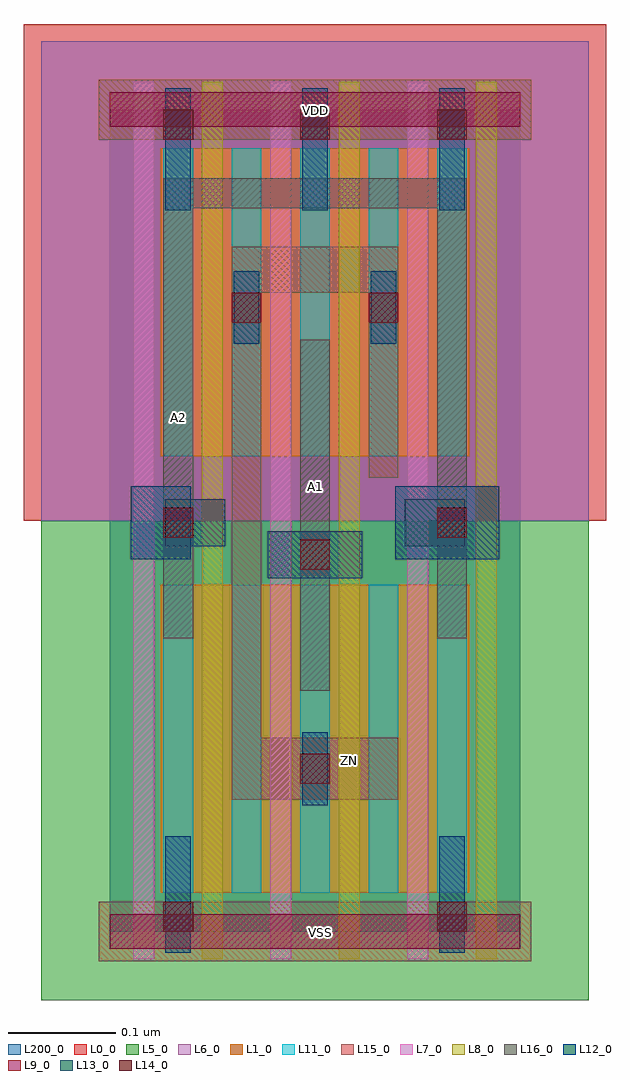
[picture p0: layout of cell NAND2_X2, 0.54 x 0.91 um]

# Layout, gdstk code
import gdstk
lib = gdstk.Library(unit=1e-6, precision=1e-09)
def R(c, l, rs):  # rectangles x0, y0, x1, y1
    for r in rs: c.add(gdstk.rectangle(r[:2], r[2:], *l))
def A(c, l, x, y, w, h, nx, ny, dx, dy):  # array of equal rectangles
    R(c, l, [(x+i*dx, y+j*dy, x+i*dx+w, y+j*dy+h) for i in range(nx) for j in range(ny)])
def P(c, l, *ps):  # polygons
    for p in ps: c.add(gdstk.Polygon(p, *l))
L0_0 = (0, 0)
L1_0 = (1, 0)
L5_0 = (5, 0)
L6_0 = (6, 0)
L7_0 = (7, 0)
L8_0 = (8, 0)
L9_0 = (9, 0)
L11_0 = (11, 0)
L12_0 = (12, 0)
L13_0 = (13, 0)
L14_0 = (14, 0)
L15_0 = (15, 0)
L16_0 = (16, 0)
L200_0 = (200, 0)

nand2_x2 = lib.new_cell('NAND2_X2')
R(nand2_x2, L0_0, [(-0.08,0.384,0.464,0.848)])
R(nand2_x2, L1_0, [(0.048,0.036,0.336,0.324), (0.048,0.444,0.336,0.732)])
R(nand2_x2, L5_0, [(-0.064,-0.064,0.448,0.384)])
R(nand2_x2, L6_0, [(-0.064,0.384,0.448,0.832)])
A(nand2_x2, L7_0, 0.022, -0.026, 0.02, 0.82, 3, 1, 0.128, 0)
A(nand2_x2, L8_0, 0.086, -0.026, 0.02, 0.82, 3, 1, 0.128, 0)
R(nand2_x2, L9_0, [(0,-0.016,0.384,0.016), (0,0.752,0.384,0.784)])
A(nand2_x2, L11_0, 0.05, 0.036, 0.028, 0.288, 5, 2, 0.064, 0.408)
A(nand2_x2, L12_0, 0.052, 0.674, 0.024, 0.114, 3, 1, 0.128, 0)
R(nand2_x2, L12_0, [(0.052,-0.02,0.076,0.089), (0.308,-0.02,0.332,0.089), (0.18,0.118,0.204,0.186), (0.02,0.348,0.076,0.416), (0.267,0.348,0.364,0.416), (0.116,0.549,0.14,0.617), (0.244,0.549,0.268,0.617)])
R(nand2_x2, L13_0, [(0.148,0.33,0.236,0.374), (0.052,0.36,0.108,0.404), (0.276,0.36,0.332,0.404)])
A(nand2_x2, L14_0, 0.05, 0.74, 0.028, 0.028, 3, 1, 0.128, 0)
R(nand2_x2, L14_0, [(0.05,0,0.078,0.028), (0.306,0,0.334,0.028), (0.178,0.138,0.206,0.166), (0.178,0.338,0.206,0.366), (0.05,0.368,0.078,0.396), (0.306,0.368,0.334,0.396), (0.114,0.569,0.142,0.597), (0.242,0.569,0.27,0.597)])
R(nand2_x2, L15_0, [(-0.01,-0.028,0.394,0.028), (-0.01,0.74,0.394,0.796)])
P(nand2_x2, L15_0, [(0.142,0.597),(0.242,0.597),(0.242,0.424),(0.27,0.424),(0.27,0.64),(0.114,0.64),(0.114,0.123),(0.27,0.123),(0.27,0.181),(0.142,0.181)])
R(nand2_x2, L16_0, [(0.178,0.225,0.206,0.553)])
P(nand2_x2, L16_0, [(0.05,0.274),(0.078,0.274),(0.078,0.676),(0.306,0.676),(0.306,0.274),(0.334,0.274),(0.334,0.704),(0.05,0.704)])
R(nand2_x2, L200_0, [(0,0,0.384,0.768)])
nand2_x2.add(gdstk.Label('VSS', (0.197,-0.001), layer=15, texttype=20))
nand2_x2.add(gdstk.Label('ZN', (0.224,0.16), layer=15, texttype=20))
nand2_x2.add(gdstk.Label('VDD', (0.192,0.767), layer=15, texttype=20))
nand2_x2.add(gdstk.Label('A1', (0.192,0.416), layer=16, texttype=20))
nand2_x2.add(gdstk.Label('A2', (0.064,0.48), layer=16, texttype=20))

lib.write_gds('NAND2_X2.gds')
